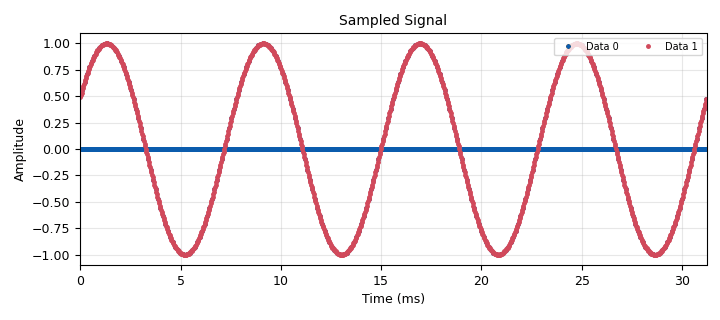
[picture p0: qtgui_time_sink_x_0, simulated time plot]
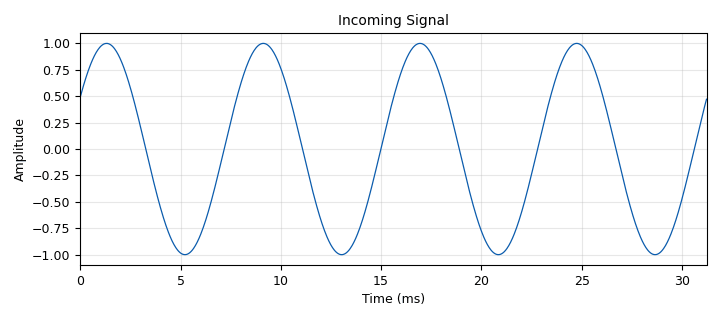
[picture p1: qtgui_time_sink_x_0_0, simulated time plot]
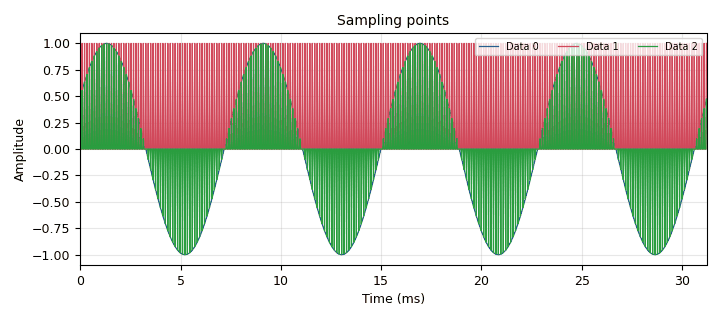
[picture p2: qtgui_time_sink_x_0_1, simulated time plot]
<?xml version='1.0' encoding='utf-8'?>
<?grc format='1' created='3.7.11'?>
<flow_graph>
<block>
<key>options</key>
<param><key>id</key><value>SamplingDemo</value></param>
<param><key>generate_options</key><value>qt_gui</value></param>
</block>
<block>
<key>variable_qtgui_range</key>
<param><key>id</key><value>f0</value></param>
<param><key>value</key><value>128</value></param>
<param><key>gui_hint</key><value>1,0,1,1</value></param>
<param><key>orient</key><value>Qt.Horizontal</value></param>
<param><key>start</key><value>0</value></param>
<param><key>step</key><value>1</value></param>
<param><key>stop</key><value>2000</value></param>
</block>
<block>
<key>variable</key>
<param><key>id</key><value>samp_rate</value></param>
<param><key>value</key><value>32768</value></param>
</block>
<block>
<key>variable_qtgui_range</key>
<param><key>id</key><value>sampling_step</value></param>
<param><key>value</key><value>4</value></param>
<param><key>gui_hint</key><value>0,0,1,1</value></param>
<param><key>orient</key><value>Qt.Horizontal</value></param>
<param><key>start</key><value>1</value></param>
<param><key>step</key><value>1</value></param>
<param><key>stop</key><value>1024</value></param>
</block>
<block>
<key>variable_qtgui_chooser</key>
<param><key>id</key><value>waveform</value></param>
<param><key>value</key><value>102</value></param>
<param><key>gui_hint</key><value>0,1,2,1</value></param>
<param><key>label0</key><value>Cosine</value></param>
<param><key>label1</key><value>Square</value></param>
<param><key>label2</key><value>Triangle</value></param>
<param><key>label3</key><value>Sawtooth</value></param>
<param><key>label</key><value>Waveform Select</value></param>
<param><key>num_opts</key><value>4</value></param>
<param><key>option0</key><value>102</value></param>
<param><key>option1</key><value>103</value></param>
<param><key>option2</key><value>104</value></param>
<param><key>option3</key><value>105</value></param>
<param><key>type</key><value>int</value></param>
<param><key>widget</key><value>radio_buttons</value></param>
</block>
<block>
<key>analog_sig_source_x</key>
<param><key>id</key><value>analog_sig_source_x_0</value></param>
<param><key>amp</key><value>1</value></param>
<param><key>freq</key><value>f0</value></param>
<param><key>offset</key><value>0</value></param>
<param><key>type</key><value>float</value></param>
<param><key>samp_rate</key><value>samp_rate</value></param>
<param><key>waveform</key><value>waveform</value></param>
</block>
<block>
<key>blocks_multiply_xx</key>
<param><key>id</key><value>blocks_multiply_xx_0</value></param>
<param><key>type</key><value>float</value></param>
</block>
<block>
<key>blocks_throttle</key>
<param><key>id</key><value>blocks_throttle_0</value></param>
<param><key>samples_per_second</key><value>samp_rate</value></param>
<param><key>type</key><value>float</value></param>
</block>
<block>
<key>blocks_vector_source_x</key>
<param><key>id</key><value>blocks_vector_source_x_0</value></param>
<param><key>type</key><value>float</value></param>
<param><key>repeat</key><value>True</value></param>
<param><key>vector</key><value>signal.unit_impulse(int(sampling_step))</value></param>
</block>
<block>
<key>import</key>
<param><key>id</key><value>import_0</value></param>
<param><key>import</key><value>from scipy import signal</value></param>
</block>
<block>
<key>qtgui_time_sink_x</key>
<param><key>id</key><value>qtgui_time_sink_x_0</value></param>
<param><key>autoscale</key><value>True</value></param>
<param><key>gui_hint</key><value>4,0,1,2</value></param>
<param><key>grid</key><value>True</value></param>
<param><key>color1</key><value>"blue"</value></param>
<param><key>label1</key><value></value></param>
<param><key>marker1</key><value>0</value></param>
<param><key>style1</key><value>0</value></param>
<param><key>color2</key><value>"red"</value></param>
<param><key>label2</key><value></value></param>
<param><key>style2</key><value>0</value></param>
<param><key>name</key><value>"Sampled Signal"</value></param>
<param><key>nconnections</key><value>2</value></param>
<param><key>size</key><value>1024</value></param>
<param><key>srate</key><value>samp_rate</value></param>
<param><key>tr_chan</key><value>1</value></param>
<param><key>tr_level</key><value>0.5</value></param>
<param><key>tr_mode</key><value>qtgui.TRIG_MODE_AUTO</value></param>
<param><key>type</key><value>float</value></param>
</block>
<block>
<key>qtgui_time_sink_x</key>
<param><key>id</key><value>qtgui_time_sink_x_0_0</value></param>
<param><key>autoscale</key><value>True</value></param>
<param><key>gui_hint</key><value>2,0,1,2</value></param>
<param><key>grid</key><value>True</value></param>
<param><key>color1</key><value>"blue"</value></param>
<param><key>label1</key><value></value></param>
<param><key>name</key><value>"Incoming Signal"</value></param>
<param><key>size</key><value>1024</value></param>
<param><key>srate</key><value>samp_rate</value></param>
<param><key>tr_level</key><value>0.5</value></param>
<param><key>tr_mode</key><value>qtgui.TRIG_MODE_AUTO</value></param>
<param><key>type</key><value>float</value></param>
</block>
<block>
<key>qtgui_time_sink_x</key>
<param><key>id</key><value>qtgui_time_sink_x_0_1</value></param>
<param><key>autoscale</key><value>True</value></param>
<param><key>gui_hint</key><value>3,0,1,2</value></param>
<param><key>grid</key><value>True</value></param>
<param><key>color1</key><value>"blue"</value></param>
<param><key>label1</key><value></value></param>
<param><key>color2</key><value>"red"</value></param>
<param><key>label2</key><value></value></param>
<param><key>color3</key><value>"green"</value></param>
<param><key>label3</key><value></value></param>
<param><key>name</key><value>"Sampling points"</value></param>
<param><key>nconnections</key><value>3</value></param>
<param><key>size</key><value>1024</value></param>
<param><key>srate</key><value>samp_rate</value></param>
<param><key>tr_level</key><value>0.5</value></param>
<param><key>tr_mode</key><value>qtgui.TRIG_MODE_AUTO</value></param>
<param><key>type</key><value>float</value></param>
</block>
<connection><source_block_id>analog_sig_source_x_0</source_block_id><sink_block_id>blocks_multiply_xx_0</sink_block_id><source_key>0</source_key><sink_key>1</sink_key></connection>
<connection><source_block_id>analog_sig_source_x_0</source_block_id><sink_block_id>qtgui_time_sink_x_0</sink_block_id><source_key>0</source_key><sink_key>1</sink_key></connection>
<connection><source_block_id>analog_sig_source_x_0</source_block_id><sink_block_id>qtgui_time_sink_x_0_0</sink_block_id><source_key>0</source_key><sink_key>0</sink_key></connection>
<connection><source_block_id>analog_sig_source_x_0</source_block_id><sink_block_id>qtgui_time_sink_x_0_1</sink_block_id><source_key>0</source_key><sink_key>0</sink_key></connection>
<connection><source_block_id>blocks_multiply_xx_0</source_block_id><sink_block_id>blocks_throttle_0</sink_block_id><source_key>0</source_key><sink_key>0</sink_key></connection>
<connection><source_block_id>blocks_throttle_0</source_block_id><sink_block_id>qtgui_time_sink_x_0</sink_block_id><source_key>0</source_key><sink_key>0</sink_key></connection>
<connection><source_block_id>blocks_throttle_0</source_block_id><sink_block_id>qtgui_time_sink_x_0_1</sink_block_id><source_key>0</source_key><sink_key>2</sink_key></connection>
<connection><source_block_id>blocks_vector_source_x_0</source_block_id><sink_block_id>blocks_multiply_xx_0</sink_block_id><source_key>0</source_key><sink_key>0</sink_key></connection>
<connection><source_block_id>blocks_vector_source_x_0</source_block_id><sink_block_id>qtgui_time_sink_x_0_1</sink_block_id><source_key>0</source_key><sink_key>1</sink_key></connection>
</flow_graph>
